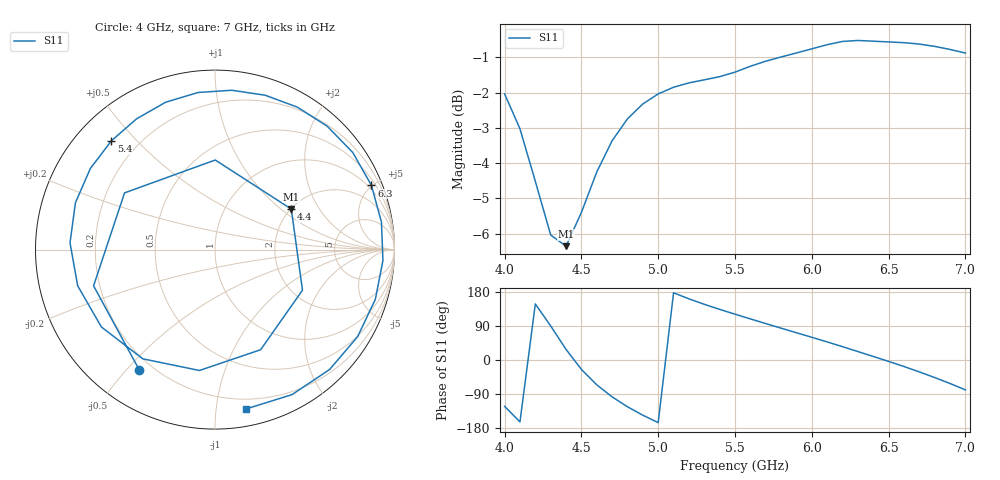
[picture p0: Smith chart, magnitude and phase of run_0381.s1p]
! Touchstone file exported from HFSS 2024.2.0
!  File:  C:/Users/wsak9/Desktop/Sim Fast/Widenad Patch/WP_AI_V1_sweep.aedt
!  Generated:  07:18:07 AM Oct 14, 2026
!  Design:  A1_model
!  Project:  WP_AI_V1_sweep
!  Setup:  Setup1
!  Solution:  Sweep
! Variables:
!  Air_gap = 1.98mm
!  Curve_Amp1 = 1.53
!  Curve_len1 = 1
!  Curve_pos = 13.215mm
!  Extra = 2.51mm
!  H_sub = 0.79mm
!  L_Patch = 22.43mm
!  L_Patch1 = 17.91mm
!  Sx = 4.63mm
!  Sy = 4.06mm
!  WS = 1mm
!  W_Patch = 15.55mm
!  W_Patch1 = 15.4mm
!Data is not renormalized
# GHz S MA
! Terminal data exported
! Port[1] = 1
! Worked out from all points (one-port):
!   31 points, 4 GHz to 7 GHz, reference per port
!   lowest |S11| = -6.4 dB at 4.4 GHz (marker M1), VSWR 2.86
!   |S11| at or under -10 dB: nowhere
!   S11 on the Smith chart (normalised r, x): 4 GHz: 0.15, -0.54; 4.4 GHz: 2.01, +1.18; 5.4 GHz: 0.10, +0.42; 6.3 GHz: 0.78, +4.96; 7 GHz: 0.12, -1.21
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4  0.7913 -122.3
4.1  0.706 -163.4
4.2  0.5948 147.9
4.3  0.4991 89.9
4.4  0.4813 28.0
4.5  0.5373 -24.9
4.6  0.6131 -65.5
4.7  0.6791 -97.3
4.8  0.7294 -123.5
4.9  0.7657 -145.7
5  0.7913 -165.2
5.1  0.8087 177.3
5.2  0.8202 161.4
5.4  0.8371 133.6
5.5  0.8496 120.9
5.7  0.8804 96.1
5.8  0.8927 84.0
5.9  0.9044 72.0
6  0.9167 60.0
6.1  0.9292 47.7
6.3  0.9421 22.3
6.4  0.9399 9.4
6.5  0.9376 -3.7
6.6  0.9353 -17.2
6.7  0.9311 -31.4
6.8  0.9241 -46.3
6.9  0.9149 -62.0
7  0.9042 -78.8
